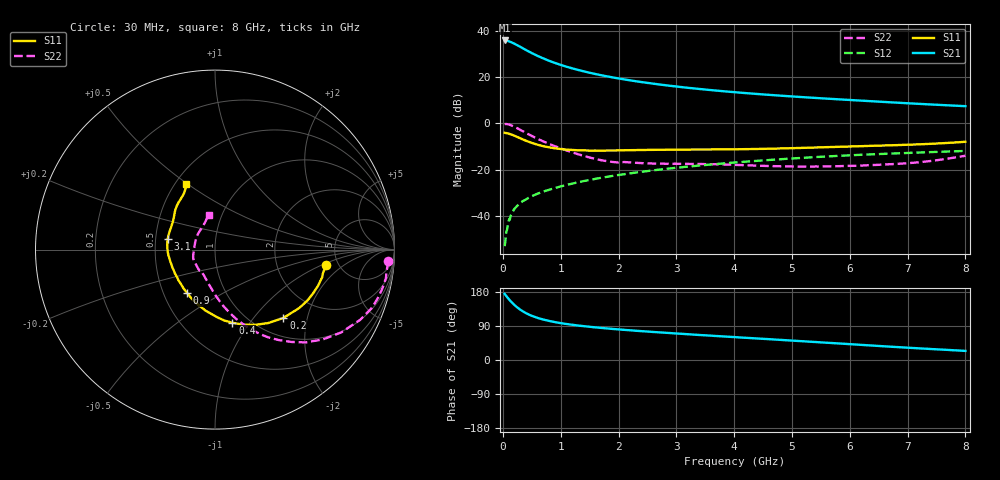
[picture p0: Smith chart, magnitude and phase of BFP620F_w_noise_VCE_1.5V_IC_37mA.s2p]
! Infineon Technologies  Discrete & RF Semiconductors
! BFP620F
! VCE =  1.5 V,  IC =  37 mA
! Common Emitter S-Parameters:  Dec 2014
# GHz  S  MA  R  50
!  f  S11  S21  S12  S22
! GHz  MAG  ANG  MAG  ANG  MAG  ANG  MAG  ANG
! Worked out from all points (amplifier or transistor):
!   95 points, 30 MHz to 8 GHz, reference 50 ohm
!   highest |S21| = 35.8 dB at 30 MHz (marker M1)
!   |S21| within 3 dB of that: start of sweep to 317.6 MHz
!   unconditionally stable (mu >= 1): 2.26 GHz to end of sweep
!   at 300 MHz: K = 0.42, MSG = 33.8 dB, |S12| = -34.5 dB
!   at 3.3 GHz: K = 1.03, MAG = 15.8 dB, |S12| = -18.5 dB
!   at 8 GHz: K = 1.05, MAG = 8.3 dB, |S12| = -12.0 dB
!   lowest NFmin = 1.29 dB at 450 MHz
!   S11 on the Smith chart (normalised r, x): 30 MHz: 4.02, -1.11; 200 MHz: 1.35, -1.44; 400 MHz: 0.84, -0.83; 900 MHz: 0.66, -0.35; 3.1 GHz: 0.58, +0.07; 8 GHz: 0.57, +0.49
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0.03  0.6256 -7.7  62 174.6  0.0022 72.0  0.9632 -3.8
0.07  0.612 -16.8  61.2 166.8  0.0049 91.1  0.961 -11.4
0.11  0.593 -26.3  59.04 159.3  0.0085 82.4  0.937 -19.0
0.15  0.5701 -35.0  56.49 152.7  0.011 76.7  0.8987 -25.8
0.2  0.5387 -44.9  52.67 145.2  0.0142 75.3  0.8411 -33.3
0.25  0.5056 -54.0  48.89 138.6  0.0165 71.3  0.7819 -39.8
0.3  0.4748 -62.1  45.18 132.9  0.0189 69.0  0.7237 -45.6
0.35  0.4459 -69.6  41.63 128.0  0.0209 68.1  0.6677 -50.4
0.4  0.419 -76.6  38.51 123.6  0.0226 66.9  0.6167 -54.8
0.5  0.3769 -88.2  33.07 116.6  0.0265 64.8  0.5327 -62.0
0.6  0.3442 -98.7  28.75 111.1  0.0301 65.4  0.4618 -67.9
0.7  0.3197 -107.6  25.32 106.7  0.0334 65.1  0.4053 -72.9
0.9  0.2877 -122.5  20.24 100.0  0.0398 64.8  0.3201 -81.3
1.1  0.2695 -134.8  16.77 95.0  0.0464 64.9  0.259 -88.8
1.4  0.2598 -149.4  13.3 89.3  0.0564 64.9  0.1976 -99.7
1.9  0.2581 -167.2  9.838 82.0  0.0729 63.5  0.1457 -120.0
2.7  0.2676 174.2  6.943 73.0  0.0993 60.0  0.1342 -143.6
3.1  0.2704 167.2  6.055 69.0  0.1123 57.8  0.1325 -151.0
4.1  0.2752 152.3  4.611 59.5  0.1447 51.9  0.1252 -165.4
5.4  0.2996 139.1  3.547 47.5  0.1857 43.0  0.1164 166.3
6.7  0.3345 126.6  2.85 35.2  0.2211 33.2  0.1304 134.5
8  0.3986 113.7  2.349 24.0  0.2525 23.9  0.1985 100.4
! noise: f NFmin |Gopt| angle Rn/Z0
0.45  1.29  0.13  -172  0.16
0.9  1.32  0.13  -172  0.13
1.5  1.33  0.17  -151  0.11
1.8  1.34  0.18  -151  0.12
1.9  1.35  0.18  -150  0.12
2.4  1.37  0.19  215  0.14
3.5  1.43  0.19  219  0.18
5.5  1.57  0.25  245  0.16
6  1.61  0.26  261  0.18
